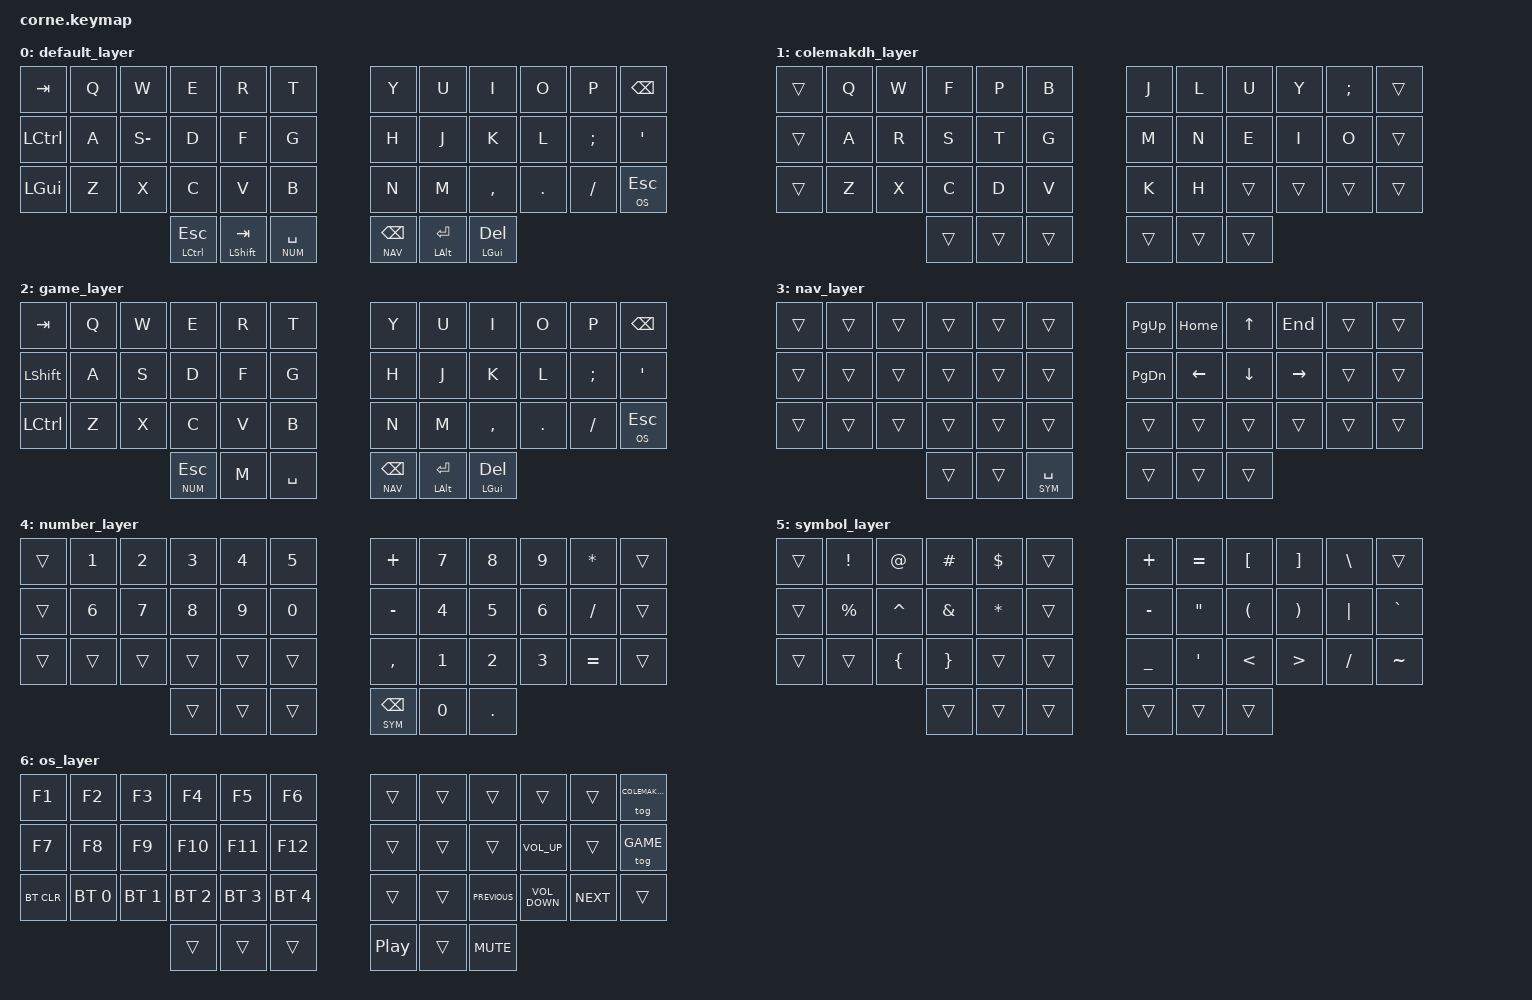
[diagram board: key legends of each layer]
/*
 * Copyright (c) 2020 The ZMK Contributors
 *
 * SPDX-License-Identifier: MIT
 */

#include <behaviors.dtsi>
#include <dt-bindings/zmk/bt.h>
#include <dt-bindings/zmk/keys.h>

// Layer definitions

#define BASE 0
#define COLEMAKDH 1 
#define GAME 2
#define NAV 3
#define NUM 4
#define SYM 5
#define OS 6

/ {
    combos {
        compatible = "zmk,combos";
    };

    behaviors {
        hm: homerow_mods {
            compatible = "zmk,behavior-hold-tap";
            label = "HOMEROW_MODS";
            #binding-cells = <2>;
            tapping-term-ms = <200>;
            quick-tap-ms = <0>;
            flavor = "tap-preferred";
            bindings = <&kp>, <&kp>;
        };
    };

    keymap {
        compatible = "zmk,keymap";

        default_layer {
            bindings = <
   &kp TAB   &kp Q &kp W &kp E &kp R &kp T   &kp Y &kp U  &kp I     &kp O   &kp P    &kp BSPC
   &kp LCTRL &kp A &kp S- &kp D &kp F &kp G   &kp H &kp J  &kp K     &kp L   &kp SEMI &kp SQT
   &kp LGUI  &kp Z &kp X &kp C &kp V &kp B   &kp N &kp M  &kp COMMA &kp DOT &kp FSLH &lt OS ESC
      &hm LCTRL ESC &hm LSHIFT TAB &lt NUM SPACE    &lt NAV BSPC  &hm LALT RET &hm LGUI DEL
            >;
        };

        colemakdh_layer {
            bindings = <
&trans  &kp Q  &kp W  &kp F  &kp P  &kp B    &kp J  &kp L   &kp U     &kp Y      &kp SEMI &trans
&trans  &kp A  &kp R  &kp S  &kp T  &kp G    &kp M  &kp N   &kp E     &kp I      &kp O    &trans
&trans  &kp Z  &kp X  &kp C  &kp D  &kp V    &kp K  &kp H   &trans    &trans     &trans   &trans
                   &trans  &trans  &trans    &trans    &trans     &trans
            >;
        };
        game_layer {
            bindings = <
   &kp TAB    &kp Q &kp W &kp E &kp R &kp T   &kp Y &kp U  &kp I     &kp O   &kp P    &kp BSPC
   &kp LSHIFT &kp A &kp S &kp D &kp F &kp G   &kp H &kp J  &kp K     &kp L   &kp SEMI &kp SQT
   &kp LCTRL  &kp Z &kp X &kp C &kp V &kp B   &kp N &kp M  &kp COMMA &kp DOT &kp FSLH &lt OS ESC
      &lt NUM ESC &kp M &kp SPACE    &lt NAV BSPC  &hm LALT RET &hm LGUI DEL
            >;
        };
        nav_layer {
            bindings = <
&trans  &trans  &trans  &trans  &trans  &trans    &kp PG_UP &kp HOME   &kp UP    &kp END    &trans  &trans
&trans  &trans  &trans  &trans  &trans  &trans    &kp PG_DN &kp LEFT   &kp DOWN  &kp RIGHT  &trans  &trans
&trans  &trans  &trans  &trans  &trans  &trans    &trans    &trans     &trans    &trans     &trans  &trans
                        &trans  &trans  &lt SYM SPACE   &trans    &trans     &trans
            >;
        };

        number_layer {
            bindings = <
&trans  &kp N1  &kp N2  &kp N3  &kp N4 &kp N5    &kp PLUS  &kp N7  &kp N8  &kp N9  &kp ASTRK  &trans
&trans  &kp N6  &kp N7  &kp N8  &kp N9 &kp N0    &kp MINUS &kp N4  &kp N5  &kp N6  &kp SLASH  &trans
&trans  &trans  &trans  &trans  &trans &trans    &kp COMMA &kp N1  &kp N2  &kp N3  &kp EQUAL  &trans
                        &trans  &trans  &trans    &lt SYM BSPC   &kp N0  &kp DOT
            >;
        };

        symbol_layer {
            bindings = <
&trans  &kp EXCL   &kp AT     &kp HASH  &kp DLLR  &trans    &kp PLUS  &kp EQUAL &kp LBKT  &kp RBKT  &kp BSLH  &trans
&trans  &kp PRCNT  &kp CARET  &kp AMPS  &kp ASTRK &trans    &kp MINUS &kp DQT   &kp LPAR  &kp RPAR  &kp PIPE  &kp GRAVE 
&trans  &trans     &kp LBRC   &kp RBRC  &trans    &trans    &kp UNDER &kp APOS  &kp LT    &kp GT    &kp SLASH &kp TILDE
                              &trans    &trans    &trans    &trans    &trans    &trans
            >;
        };

        os_layer {
            bindings = <
&kp F1      &kp F2        &kp F3        &kp F4        &kp F5        &kp F6          &trans           &trans        &trans             &trans             &trans       &tog COLEMAKDH
&kp F7      &kp F8        &kp F9        &kp F10       &kp F11       &kp F12         &trans           &trans        &trans             &kp C_VOLUME_UP    &trans       &tog GAME
&bt BT_CLR  &bt BT_SEL 0  &bt BT_SEL 1  &bt BT_SEL 2  &bt BT_SEL 3  &bt BT_SEL 4    &trans           &trans        &kp C_PREVIOUS     &kp C_VOLUME_DOWN  &kp C_NEXT   &trans
                                        &trans     &trans        &trans          &kp C_PLAY_PAUSE &trans        &kp C_MUTE

            >;
        };
    };
};
